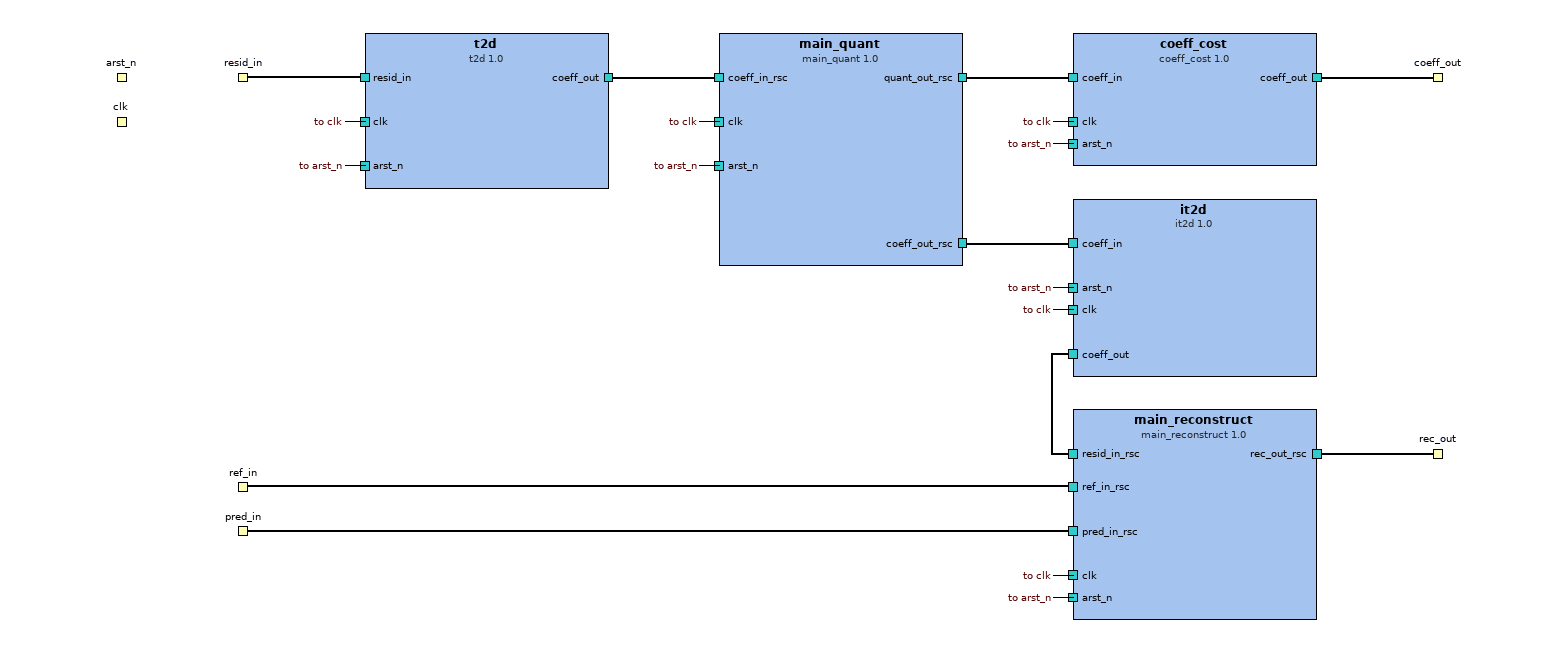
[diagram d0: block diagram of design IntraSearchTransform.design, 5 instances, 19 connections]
<?xml version="1.0" encoding="UTF-8"?>
<ipxact:design xmlns:xsi="http://www.w3.org/2001/XMLSchema-instance" xmlns:ipxact="http://www.accellera.org/XMLSchema/IPXACT/1685-2014" xmlns:kactus2="http://kactus2.cs.tut.fi" xsi:schemaLocation="http://www.accellera.org/XMLSchema/IPXACT/1685-2014 http://www.accellera.org/XMLSchema/IPXACT/1685-2014/index.xsd"><ipxact:vendor>tuni.fi</ipxact:vendor><ipxact:library>KvazaarTransform</ipxact:library><ipxact:name>IntraSearchTransform.design</ipxact:name>
 <ipxact:version>1.0</ipxact:version><ipxact:componentInstances>
 <ipxact:componentInstance><ipxact:instanceName>t2d</ipxact:instanceName><ipxact:componentRef vendor="tuni.fi" library="KvazaarTransform" name="t2d" version="1.0"/></ipxact:componentInstance>
 <ipxact:componentInstance><ipxact:instanceName>main_quant</ipxact:instanceName><ipxact:componentRef vendor="tuni.fi" library="KvazaarTransform" name="main_quant" version="1.0"/></ipxact:componentInstance>
 <ipxact:componentInstance><ipxact:instanceName>it2d</ipxact:instanceName><ipxact:componentRef vendor="tuni.fi" library="KvazaarTransform" name="it2d" version="1.0"/></ipxact:componentInstance>
 <ipxact:componentInstance><ipxact:instanceName>main_reconstruct</ipxact:instanceName><ipxact:componentRef vendor="tuni.fi" library="KvazaarTransform" name="main_reconstruct" version="1.0"/></ipxact:componentInstance>
 <ipxact:componentInstance><ipxact:instanceName>coeff_cost</ipxact:instanceName><ipxact:componentRef vendor="tuni.fi" library="KvazaarTransform" name="coeff_cost" version="1.0"/></ipxact:componentInstance>
</ipxact:componentInstances><ipxact:interconnections>
 <ipxact:interconnection><ipxact:name>t2d_coeff_out_to_main_quant_coeff_in_rsc</ipxact:name><ipxact:activeInterface componentRef="t2d" busRef="coeff_out"/><ipxact:activeInterface componentRef="main_quant" busRef="coeff_in_rsc"/></ipxact:interconnection>
 <ipxact:interconnection><ipxact:name>t2d_arst_n_to_arst_n</ipxact:name><ipxact:activeInterface componentRef="t2d" busRef="arst_n"/><ipxact:hierInterface busRef="arst_n"/></ipxact:interconnection>
 <ipxact:interconnection><ipxact:name>main_quant_arst_n_to_arst_n</ipxact:name><ipxact:activeInterface componentRef="main_quant" busRef="arst_n"/><ipxact:hierInterface busRef="arst_n"/></ipxact:interconnection>
 <ipxact:interconnection><ipxact:name>main_reconstruct_arst_n_to_arst_n</ipxact:name><ipxact:activeInterface componentRef="main_reconstruct" busRef="arst_n"/><ipxact:hierInterface busRef="arst_n"/></ipxact:interconnection>
 <ipxact:interconnection><ipxact:name>it2d_arst_n_to_arst_n</ipxact:name><ipxact:activeInterface componentRef="it2d" busRef="arst_n"/><ipxact:hierInterface busRef="arst_n"/></ipxact:interconnection>
 <ipxact:interconnection><ipxact:name>t2d_clk_to_clk</ipxact:name><ipxact:activeInterface componentRef="t2d" busRef="clk"/><ipxact:hierInterface busRef="clk"/></ipxact:interconnection>
 <ipxact:interconnection><ipxact:name>main_reconstruct_clk_to_clk</ipxact:name><ipxact:activeInterface componentRef="main_reconstruct" busRef="clk"/><ipxact:hierInterface busRef="clk"/></ipxact:interconnection>
 <ipxact:interconnection><ipxact:name>main_quant_clk_to_clk</ipxact:name><ipxact:activeInterface componentRef="main_quant" busRef="clk"/><ipxact:hierInterface busRef="clk"/></ipxact:interconnection>
 <ipxact:interconnection><ipxact:name>it2d_clk_to_clk</ipxact:name><ipxact:activeInterface componentRef="it2d" busRef="clk"/><ipxact:hierInterface busRef="clk"/></ipxact:interconnection>
 <ipxact:interconnection><ipxact:name>coeff_cost_arst_n_to_arst_n</ipxact:name><ipxact:activeInterface componentRef="coeff_cost" busRef="arst_n"/><ipxact:hierInterface busRef="arst_n"/></ipxact:interconnection>
 <ipxact:interconnection><ipxact:name>coeff_cost_clk_to_clk</ipxact:name><ipxact:activeInterface componentRef="coeff_cost" busRef="clk"/><ipxact:hierInterface busRef="clk"/></ipxact:interconnection>
 <ipxact:interconnection><ipxact:name>main_quant_quant_out_rsc_to_coeff_cost_coeff_in</ipxact:name><ipxact:activeInterface componentRef="main_quant" busRef="quant_out_rsc"/><ipxact:activeInterface componentRef="coeff_cost" busRef="coeff_in"/></ipxact:interconnection>
 <ipxact:interconnection><ipxact:name>coeff_cost_coeff_out_to_bus</ipxact:name><ipxact:activeInterface componentRef="coeff_cost" busRef="coeff_out"/><ipxact:hierInterface busRef="coeff_out"/></ipxact:interconnection>
 <ipxact:interconnection><ipxact:name>main_quant_coeff_out_rsc_to_it2d_coeff_in</ipxact:name><ipxact:activeInterface componentRef="main_quant" busRef="coeff_out_rsc"/><ipxact:activeInterface componentRef="it2d" busRef="coeff_in"/></ipxact:interconnection>
 <ipxact:interconnection><ipxact:name>t2d_resid_in_to_bus</ipxact:name><ipxact:activeInterface componentRef="t2d" busRef="resid_in"/><ipxact:hierInterface busRef="resid_in"/></ipxact:interconnection>
 <ipxact:interconnection><ipxact:name>main_reconstruct_ref_in_rsc_to_ref_in</ipxact:name><ipxact:activeInterface componentRef="main_reconstruct" busRef="ref_in_rsc"/><ipxact:hierInterface busRef="ref_in"/></ipxact:interconnection>
 <ipxact:interconnection><ipxact:name>main_reconstruct_rec_out_rsc_to_rec_out</ipxact:name><ipxact:activeInterface componentRef="main_reconstruct" busRef="rec_out_rsc"/><ipxact:hierInterface busRef="rec_out"/></ipxact:interconnection>
 <ipxact:interconnection><ipxact:name>main_reconstruct_pred_in_rsc_to_pred_in</ipxact:name><ipxact:activeInterface componentRef="main_reconstruct" busRef="pred_in_rsc"/><ipxact:hierInterface busRef="pred_in"/></ipxact:interconnection>
 <ipxact:interconnection><ipxact:name>it2d_coeff_out_to_main_reconstruct_resid_in_rsc</ipxact:name><ipxact:activeInterface componentRef="it2d" busRef="coeff_out"/><ipxact:activeInterface componentRef="main_reconstruct" busRef="resid_in_rsc"/></ipxact:interconnection>
</ipxact:interconnections></ipxact:design>

